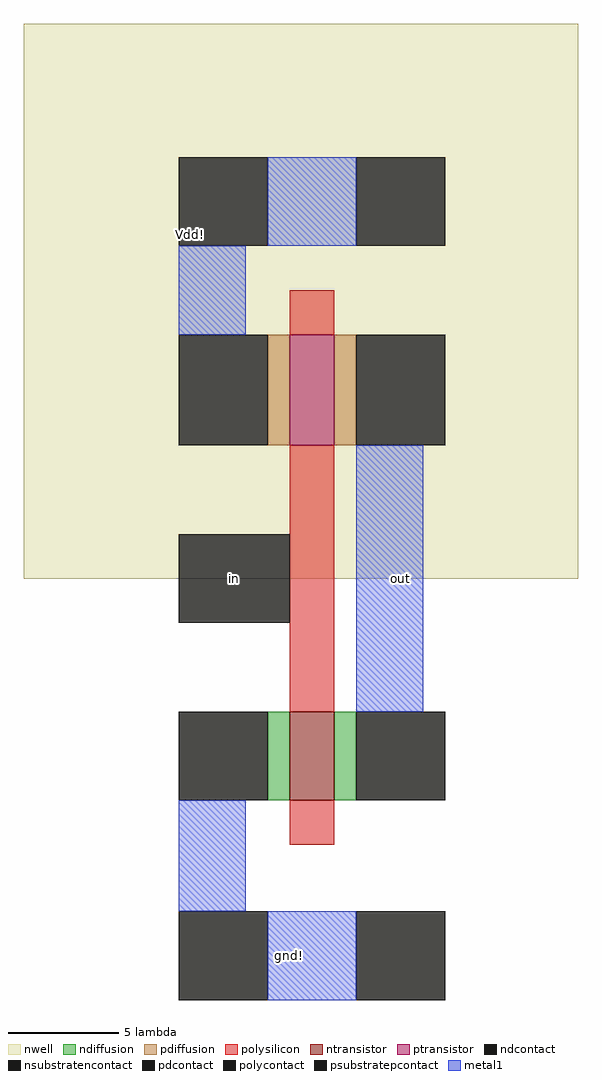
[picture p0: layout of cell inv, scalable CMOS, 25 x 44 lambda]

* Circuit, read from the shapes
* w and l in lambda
.subckt inv Vdd! gnd! in out
M1 out in gnd! gnd! nfet w=4 l=2
M2 out in Vdd! Vdd! pfet w=5 l=2
.ends

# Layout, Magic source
magic
tech scmos
<< nwell >>
rect -11 2 14 27
<< ntransistor >>
rect 1 -8 3 -4
<< ptransistor >>
rect 1 8 3 13
<< ndiffusion >>
rect 0 -8 1 -4
rect 3 -8 4 -4
<< pdiffusion >>
rect 0 8 1 13
rect 3 8 4 13
<< ndcontact >>
rect -4 -8 0 -4
rect 4 -8 8 -4
<< pdcontact >>
rect -4 8 0 13
rect 4 8 8 13
<< psubstratepcontact >>
rect -4 -17 0 -13
rect 4 -17 8 -13
<< nsubstratencontact >>
rect -4 17 0 21
rect 4 17 8 21
<< polysilicon >>
rect 1 13 3 15
rect 1 -4 3 8
rect 1 -10 3 -8
<< polycontact >>
rect -4 0 1 4
<< metal1 >>
rect 0 17 4 21
rect -4 13 -1 17
rect 4 -4 7 8
rect -4 -13 -1 -8
rect 0 -17 4 -13
<< labels >>
rlabel nwell -5 17 -2 18 5 Vdd!
rlabel polycontact -4 0 1 4 1 in
rlabel metal1 6 2 6 2 1 out
rlabel metal1 1 -15 1 -15 1 gnd!
<< end >>
